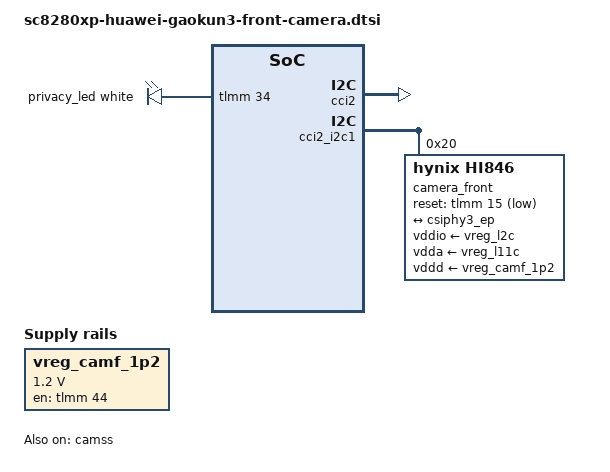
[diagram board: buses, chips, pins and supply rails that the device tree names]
// SPDX-License-Identifier: BSD-3-Clause
/*
 * Huawei Gaokun3 front camera support.
 *
 * Only the 2022 HI846 front sensor is described. The rear sensor is
 * intentionally omitted so a failed rear probe cannot block the CAMSS graph.
 */

#include <dt-bindings/leds/common.h>

/ {
	aliases {
		i2c2 = &cci2_i2c1;
	};

	leds {
		compatible = "gpio-leds";

		pinctrl-0 = <&cam_indicator_en>;
		pinctrl-names = "default";

		privacy_led: privacy-led {
			function = LED_FUNCTION_INDICATOR;
			color = <LED_COLOR_ID_WHITE>;
			gpios = <&tlmm 34 GPIO_ACTIVE_HIGH>;
			default-state = "off";
			panic-indicator;
		};
	};

	vreg_camf_1p2: regulator-camf-1p2 {
		compatible = "regulator-fixed";

		regulator-name = "vreg_camf_1p2";
		regulator-min-microvolt = <1200000>;
		regulator-max-microvolt = <1200000>;

		gpio = <&tlmm 44 GPIO_ACTIVE_HIGH>;
		enable-active-high;

		pinctrl-0 = <&camf_1p2_reg_en>;
		pinctrl-names = "default";
	};
};

&apps_rsc {
	regulators-1 {
		vreg_l2c: ldo2 {
			regulator-name = "vreg_l2c";
			regulator-min-microvolt = <1800000>;
			regulator-max-microvolt = <1800000>;
			regulator-initial-mode = <RPMH_REGULATOR_MODE_HPM>;
			regulator-always-on;
		};

		vreg_l11c: ldo11 {
			regulator-name = "vreg_l11c";
			regulator-min-microvolt = <2800000>;
			regulator-max-microvolt = <2800000>;
			regulator-initial-mode = <RPMH_REGULATOR_MODE_HPM>;
		};
	};
};

&camss {
	vdda-phy-supply = <&vreg_l6b>;
	vdda-pll-supply = <&vreg_l3b>;

	status = "okay";

	ports {
		port@3 {
			csiphy3_ep: endpoint@0 {
				reg = <0>;

				clock-lanes = <7>;
				data-lanes = <0 1 2 3>;
				remote-endpoint = <&hi846_ep>;
			};
		};
	};
};

&cci2 {
	status = "okay";
};

&cci2_i2c1 {
	camera_front: camera@20 {
		compatible = "hynix,hi846";
		reg = <0x20>;

		pinctrl-0 = <&camf_rgb_default>;
		pinctrl-names = "default";

		clocks = <&camcc CAMCC_MCLK3_CLK>;
		assigned-clocks = <&camcc CAMCC_MCLK3_CLK>;
		assigned-clock-rates = <24000000>;

		reset-gpios = <&tlmm 15 GPIO_ACTIVE_LOW>;
		vddio-supply = <&vreg_l2c>;
		vdda-supply = <&vreg_l11c>;
		vddd-supply = <&vreg_camf_1p2>;

		leds = <&privacy_led>;
		led-names = "privacy";

		orientation = <0>;
		rotation = <0>;

		port {
			hi846_ep: endpoint {
				data-lanes = <1 2 3 4>;
				link-frequencies = /bits/ 64 <180000000 360000000>;
				remote-endpoint = <&csiphy3_ep>;
			};
		};
	};
};

&tlmm {
	cam_indicator_en: cam-indicator-en-state {
		pins = "gpio34";
		function = "gpio";
		drive-strength = <2>;
		bias-disable;
	};

	camf_1p2_reg_en: camf-1p2-reg-en-state {
		pins = "gpio44";
		function = "gpio";
		drive-strength = <2>;
		bias-disable;
	};

	camf_rgb_default: camf-rgb-default-state {
		mclk-pins {
			pins = "gpio17";
			function = "cam_mclk";
			drive-strength = <6>;
			bias-disable;
		};

		xshut-n-pins {
			pins = "gpio15";
			function = "gpio";
			drive-strength = <2>;
			bias-disable;
		};
	};
};
